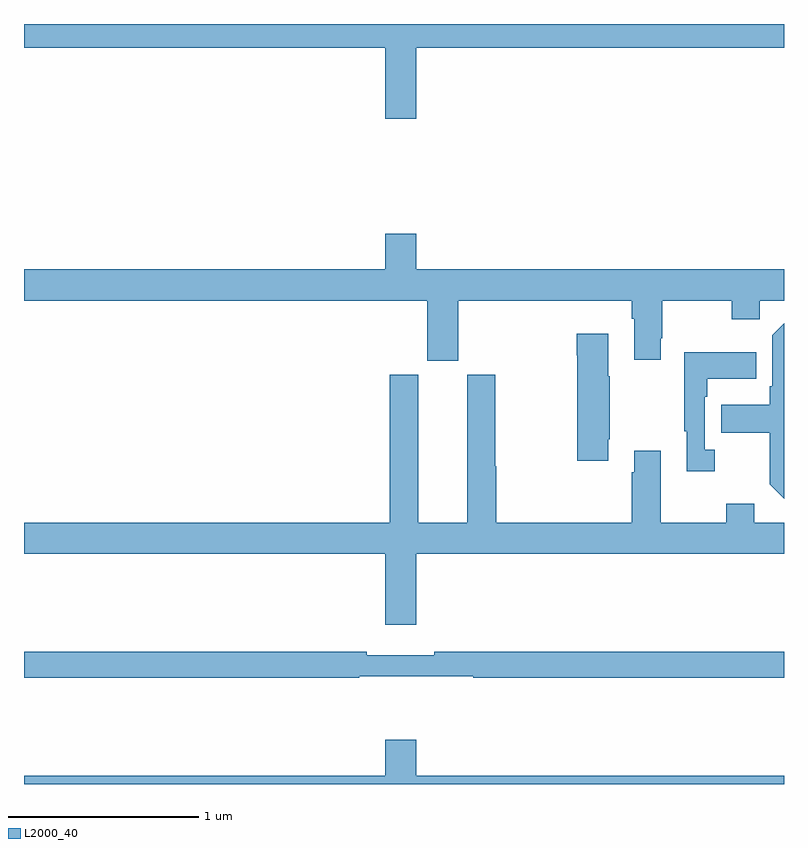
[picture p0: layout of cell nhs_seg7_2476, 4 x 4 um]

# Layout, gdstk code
import gdstk
lib = gdstk.Library(unit=1e-6, precision=1e-09)
def P(c, l, *ps):  # polygons
    for p in ps: c.add(gdstk.Polygon(p, *l))
L2000_40 = (2000, 40)

nhs_seg7_2476 = lib.new_cell('nhs_seg7_2476')
P(nhs_seg7_2476, L2000_40, [(273.064,1073.876),(275,1073.876),(275,1074),(271,1074),(271,1073.876),(272.9,1073.876),(272.9,1073.502),(273.064,1073.502)],
  [(273.286,1072.544),(274.199,1072.544),(274.199,1072.448),(274.211,1072.448),(274.211,1072.233),(274.351,1072.233),(274.351,1072.345),(274.359,1072.345),(274.359,1072.544),(274.726,1072.544),(274.726,1072.445),(274.872,1072.445),(274.872,1072.544),(275,1072.544),(275,1072.708),(273.064,1072.708),(273.064,1072.897),(272.9,1072.897),(272.9,1072.708),(271,1072.708),(271,1072.544),(273.122,1072.544),(273.122,1072.227),(273.286,1072.227)],
  [(275,1072.424),(274.938,1072.362),(274.938,1072.093),(274.926,1072.093),(274.926,1071.997),(274.669,1071.997),(274.669,1071.85),(274.926,1071.85),(274.926,1071.577),(275,1071.502)],
  [(274.075,1071.814),(274.083,1071.814),(274.083,1072.145),(274.075,1072.145),(274.075,1072.369),(273.908,1072.369),(273.908,1072.256),(273.913,1072.256),(273.913,1071.702),(274.075,1071.702)],
  [(274.636,1071.758),(274.584,1071.758),(274.584,1072.037),(274.597,1072.037),(274.597,1072.133),(274.853,1072.133),(274.853,1072.273),(274.476,1072.273),(274.476,1071.857),(274.487,1071.857),(274.487,1071.645),(274.636,1071.645)],
  [(275,1071.376),(274.843,1071.376),(274.843,1071.475),(274.696,1071.475),(274.696,1071.376),(274.351,1071.376),(274.351,1071.754),(274.211,1071.754),(274.211,1071.641),(274.199,1071.641),(274.199,1071.376),(273.485,1071.376),(273.485,1071.672),(273.48,1071.672),(273.48,1072.155),(273.332,1072.155),(273.332,1071.376),(273.076,1071.376),(273.076,1072.155),(272.924,1072.155),(272.924,1071.376),(271,1071.376),(271,1071.212),(272.9,1071.212),(272.9,1070.838),(273.064,1070.838),(273.064,1071.212),(275,1071.212)],
  [(272.764,1070.568),(273.364,1070.568),(273.364,1070.56),(275,1070.56),(275,1070.696),(273.16,1070.696),(273.16,1070.677),(272.804,1070.677),(272.804,1070.696),(271,1070.696),(271,1070.56),(272.764,1070.56)],
  [(275,1070.044),(273.064,1070.044),(273.064,1070.233),(272.9,1070.233),(272.9,1070.044),(271,1070.044),(271,1070),(275,1070)])

lib.write_gds('nhs_seg7_2476.gds')
